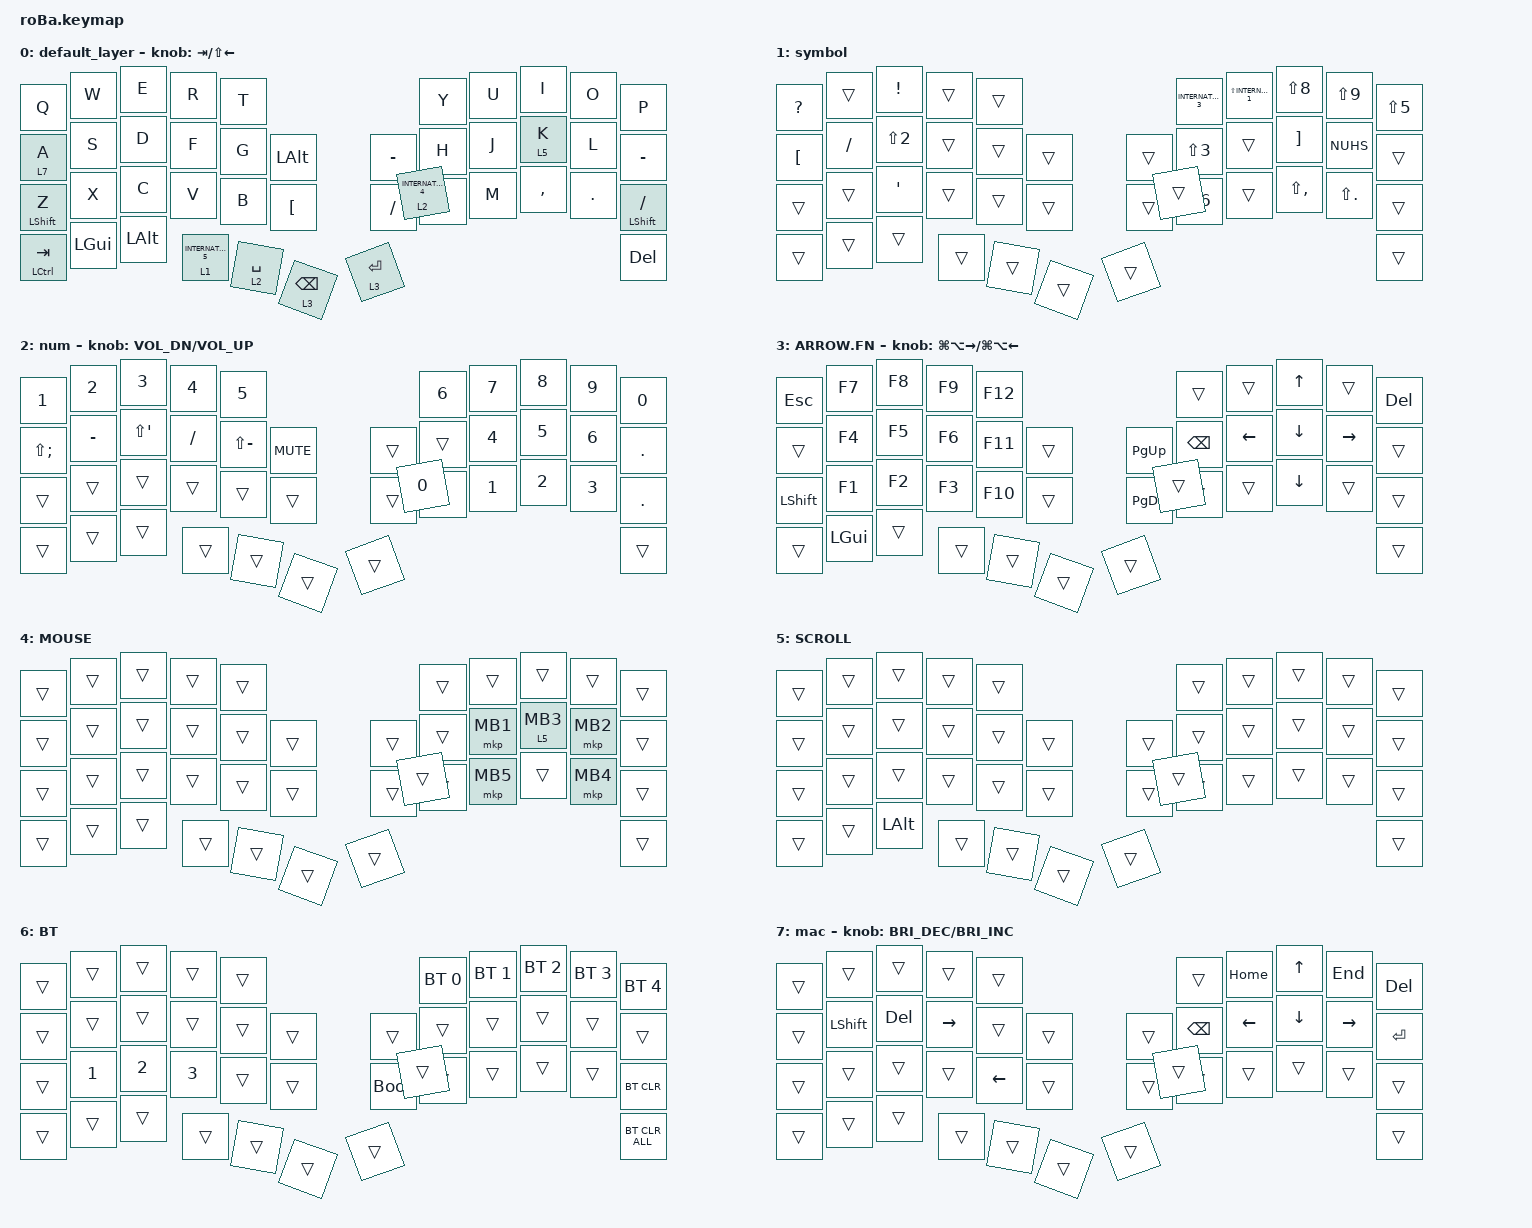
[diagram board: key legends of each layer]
#include <input/processors.dtsi>
#include <behaviors.dtsi>
#include <dt-bindings/zmk/bt.h>
#include <dt-bindings/zmk/keys.h>
#include <dt-bindings/zmk/pointing.h>

#define AML_MOUSE_LAYER 4
#define AML_TIMEOUT_MS 3000
#define AML_PRIOR_IDLE_MS 500

&mt {
    flavor = "balanced";
    quick-tap-ms = <0>;
};

&trackball {
    scroll-layers = <5>;

    // arrows {
    //     layers = <3>;
    //     bindings =
    //         <&kp RIGHT_ARROW>,
    //         <&kp LEFT_ARROW>,
    //         <&kp UP_ARROW>,
    //         <&kp DOWN_ARROW>;
    //     tick = <10>;
    //     wait-ms = <5>;
    //     tap-ms = <5>;
    // };
};

&zip_temp_layer {
    require-prior-idle-ms = <AML_PRIOR_IDLE_MS>;
    excluded-positions = <
        18 19 20 // left, middle, right mouse buttons
        30 32    // back and forward mouse buttons
        22 33    // Shift hold-taps; their tap macros still exit AML
    >;
};

&trackball_listener {
    input-processors = <&roba_typing_guard
                        &zip_xy_scaler 5 2
                        &zip_temp_layer AML_MOUSE_LAYER AML_TIMEOUT_MS>;
};

&mkp_input_listener { input-processors = <&zip_temp_layer AML_MOUSE_LAYER AML_TIMEOUT_MS>; };

/ {
    combos {
        compatible = "zmk,combos";

        tab {
            bindings = <&kp TAB>;
            key-positions = <1 0>;
        };
    };

    macros {
        exit_AML: exit_AML {
            compatible = "zmk,behavior-macro";
            wait-ms = <0>;
            tap-ms = <0>;
            #binding-cells = <0>;
            bindings = <&tog_off 4>;
            label = "EXIT_AML";
        };

        kp_exit_AML: kp_exit_AML {
            compatible = "zmk,behavior-macro-one-param";
            wait-ms = <0>;
            tap-ms = <0>;
            #binding-cells = <1>;
            bindings = <&macro_param_1to1 &kp MACRO_PLACEHOLDER &exit_AML>;
            label = "KP_EXIT_AML";
        };

        to_layer_0: to_layer_0 {
            compatible = "zmk,behavior-macro-one-param";
            #binding-cells = <1>;
            bindings = <&to 0 &macro_param_1to1 &kp MACRO_PLACEHOLDER>;
            label = "TO_LAYER_0";
        };
    };

    behaviors {
        scroll_mclick: scroll_mclick {
            compatible = "zmk,behavior-hold-tap";
            #binding-cells = <2>;
            display-name = "Scroll / Middle Click";
            bindings = <&mo>, <&mkp>;
            tapping-term-ms = <200>;
            quick-tap-ms = <0>;
            flavor = "tap-preferred";
        };

        tog_off: toggle_layer_off {
            compatible = "zmk,behavior-toggle-layer";
            #binding-cells = <1>;
            display-name = "Toggle Layer Off";
            toggle-mode = "off";
        };

        mt_exit_AML_on_tap: mt_exit_AML_on_tap {
            compatible = "zmk,behavior-hold-tap";
            label = "MT_EXIT_AML_ON_TAP";
            bindings = <&kp>, <&kp_exit_AML>;

            #binding-cells = <2>;
            tapping-term-ms = <200>;
            flavor = "balanced";
            quick-tap-ms = <0>;
        };

        lt_to_layer_0: lt_to_layer_0 {
            compatible = "zmk,behavior-hold-tap";
            label = "LAYER_TAP_TO_0";
            bindings = <&mo>, <&to_layer_0>;

            #binding-cells = <2>;
            tapping-term-ms = <200>;
        };
    };

    keymap {
        compatible = "zmk,keymap";

        default_layer {
            bindings = <
&kp Q                             &kp W         &kp E         &kp R                             &kp T                                                     &kp Y                             &kp U  &kp I      &kp O    &kp P
&lt 7 A                           &kp S         &kp D         &kp F                             &kp G        &kp LEFT_ALT                    &kp MINUS    &kp H                             &kp J  &lt 5 K    &kp L    &kp MINUS
&mt_exit_AML_on_tap LEFT_SHIFT Z  &kp X         &kp C         &kp V                             &kp B        &kp LEFT_BRACKET                &kp SLASH    &kp N                             &kp M  &kp COMMA  &kp DOT  &mt_exit_AML_on_tap LEFT_SHIFT SLASH
&mt LEFT_CONTROL TAB              &kp LEFT_GUI  &kp LEFT_ALT  &lt_to_layer_0 1 INTERNATIONAL_5  &lt 2 SPACE  &lt_to_layer_0 3 BACKSPACE      &lt 3 ENTER  &lt_to_layer_0 2 INTERNATIONAL_4                             &kp DEL
            >;

            sensor-bindings = <&inc_dec_kp TAB LS(LEFT_ARROW)>;
        };

        symbol {
            bindings = <
&kp QUESTION      &trans     &kp EXCLAMATION   &trans  &trans                      &kp INTERNATIONAL_3  &kp LS(INTERNATIONAL_1)  &kp LS(N8)         &kp LS(N9)      &kp LS(N5)
&kp LEFT_BRACKET  &kp SLASH  &kp LS(NUMBER_2)  &trans  &trans  &trans      &trans  &kp LS(NUMBER_3)     &trans                   &kp RIGHT_BRACKET  &kp NUHS        &trans
&trans            &trans     &kp SINGLE_QUOTE  &trans  &trans  &trans      &trans  &kp LS(N6)           &trans                   &kp LS(COMMA)      &kp LS(PERIOD)  &trans
&trans            &trans     &trans            &trans  &trans  &trans      &trans  &trans                                                                           &trans
            >;
        };

        num {
            bindings = <
&kp NUMBER_1  &kp NUMBER_2  &kp NUMBER_3          &kp NUMBER_4  &kp NUMBER_5                           &kp NUMBER_6  &kp N7        &kp N8        &kp N9        &kp NUMBER_0
&kp LS(SEMI)  &kp MINUS     &kp LS(SINGLE_QUOTE)  &kp SLASH     &kp LS(MINUS)  &kp K_MUTE      &trans  &trans        &kp NUMBER_4  &kp N5        &kp NUMBER_6  &kp PERIOD
&trans        &trans        &trans                &trans        &trans         &trans          &trans  &kp N0        &kp NUMBER_1  &kp NUMBER_2  &kp NUMBER_3  &kp PERIOD
&trans        &trans        &trans                &trans        &trans         &trans          &trans  &kp N0                                                  &trans
            >;

            sensor-bindings = <&inc_dec_kp C_VOL_DN C_VOL_UP>;
        };

        ARROW.FN {
            bindings = <
&kp ESCAPE      &kp F7        &kp F8  &kp F9  &kp F12                             &trans         &trans          &kp UP_ARROW    &trans           &kp DELETE
&trans          &kp F4        &kp F5  &kp F6  &kp F11  &trans      &kp PAGE_UP    &kp BACKSPACE  &kp LEFT_ARROW  &kp DOWN_ARROW  &kp RIGHT_ARROW  &trans
&kp LEFT_SHIFT  &kp F1        &kp F2  &kp F3  &kp F10  &trans      &kp PAGE_DOWN  &trans         &trans          &kp DOWN_ARROW  &trans           &trans
&trans          &kp LEFT_GUI  &trans  &trans  &trans   &trans      &trans         &trans                                                          &trans
            >;

            sensor-bindings = <&inc_dec_kp LG(LA(RIGHT_ARROW)) LG(LA(LEFT_ARROW))>;
        };

        MOUSE {
            bindings = <
&trans  &trans  &trans  &trans  &trans                      &trans  &trans    &trans    &trans    &trans
&trans  &trans  &trans  &trans  &trans  &trans      &trans  &trans  &mkp MB1  &scroll_mclick 5 MB3  &mkp MB2  &trans
&trans  &trans  &trans  &trans  &trans  &trans      &trans  &trans  &mkp MB5  &trans    &mkp MB4  &trans
&trans  &trans  &trans  &trans  &trans  &trans      &trans  &trans                                &trans
            >;
        };

        SCROLL {
            bindings = <
&trans  &trans  &trans        &trans  &trans                      &trans  &trans  &trans  &trans  &trans
&trans  &trans  &trans        &trans  &trans  &trans      &trans  &trans  &trans  &trans  &trans  &trans
&trans  &trans  &trans        &trans  &trans  &trans      &trans  &trans  &trans  &trans  &trans  &trans
&trans  &trans  &kp LEFT_ALT  &trans  &trans  &trans      &trans  &trans                          &trans
            >;
        };

        BT {
            bindings = <
&trans  &trans        &trans        &trans        &trans                           &bt BT_SEL 0  &bt BT_SEL 1  &bt BT_SEL 2  &bt BT_SEL 3  &bt BT_SEL 4
&trans  &trans        &trans        &trans        &trans  &trans      &trans       &trans        &trans        &trans        &trans        &trans
&trans  &kp NUMBER_1  &kp NUMBER_2  &kp NUMBER_3  &trans  &trans      &bootloader  &trans        &trans        &trans        &trans        &bt BT_CLR
&trans  &trans        &trans        &trans        &trans  &trans      &trans       &trans                                                  &bt BT_CLR_ALL
            >;
        };

        mac {
            bindings = <
&trans  &trans          &trans      &trans           &trans                              &trans         &kp HOME        &kp UP_ARROW    &kp END    &kp DELETE
&trans  &kp LEFT_SHIFT  &kp DELETE  &kp RIGHT_ARROW  &trans          &trans      &trans  &kp BACKSPACE  &kp LEFT_ARROW  &kp DOWN_ARROW  &kp RIGHT  &kp ENTER
&trans  &trans          &trans      &trans           &kp LEFT_ARROW  &trans      &trans  &trans         &trans          &trans          &trans     &trans
&trans  &trans          &trans      &trans           &trans          &trans      &trans  &trans                                                    &trans
            >;

            sensor-bindings = <&inc_dec_kp C_BRIGHTNESS_DEC C_BRIGHTNESS_INC>;
        };
    };
};
